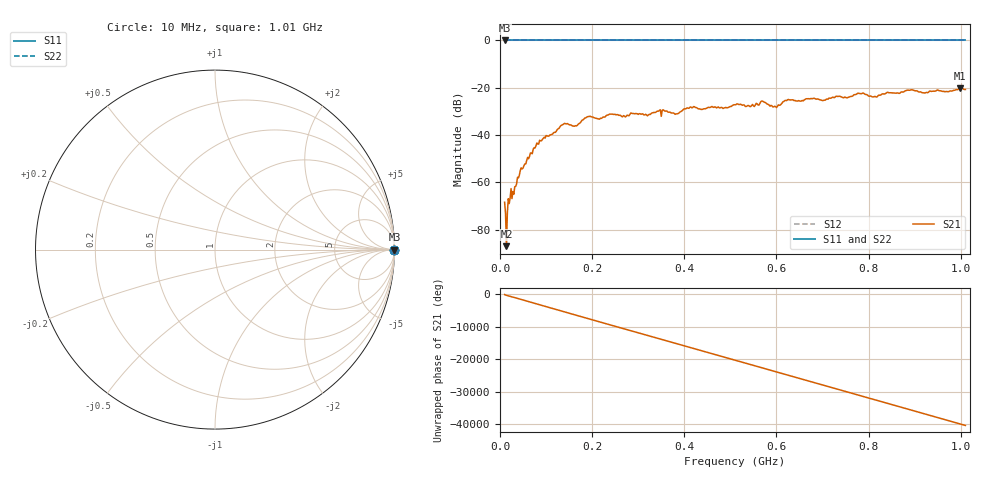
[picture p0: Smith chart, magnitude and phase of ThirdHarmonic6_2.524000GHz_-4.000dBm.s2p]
! 8/17/2025 4:59:16 AM
! C:\ANRITSUVNA\TEMP\TEMP.S2P
! CHANNEL.1
! TR.MEASUREMENT
! RAW.DATA
! RF.CORRECTION.OFF
! AVERAGING.OFF
! IF.BANDWIDTH: 5KHZ
! SWEEPTYPE:  FREQ.SWEEP(Linear)
! Reference Plane Port Info
! PORT:  PORT1  PORT2
! DISTANCE:  0  m  0  m
! TIME:  0  s  0  s
! PHASE.OFFSET:  0  deg.  0  deg.
! LOSS:  0  dB  0  dB
! REF.LOSS:  0  dB  0  dB
! REF.FREQ:  0  Hz  0  Hz
! Power Info
! POWER:  -20  dBm  -20  dBm
! EFF.POWER:  -20  dBm  -20  dBm
! SOURCE.ATTEN:  0  dB  0  dB
! TEST.ATTEN:  0  dB  0  dB
# GHZ S RI R 50.0
! FREQ.GHZ  S11RE  S11IM  S21RE  S21IM  S12RE  S12IM  S22RE  S22IM
!; PortSelection: Port_12
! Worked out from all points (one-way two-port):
!   501 points, 10 MHz to 1.01 GHz, reference 50 ohm
!   highest |S21| = -20.18 dB at 998 MHz (marker M1); lowest = -87.0 dB at 14 MHz (marker M2)
!   lowest |S11| = 0.0 dB at 10 MHz (marker M3)
!   |S11| at or under -10 dB: nowhere
!   |S22| runs from 0.0 to 0.0 dB; largest |S21 - S12| = 1.1
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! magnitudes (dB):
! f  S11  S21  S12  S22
! 10 MHz  0.0  -68.4  0.0  0.0
! 14 MHz  0.0  -87.0  0.0  0.0
! 42 MHz  0.0  -57.0  0.0  0.0
! 76 MHz  0.0  -45.4  0.0  0.0
! 136 MHz  0.0  -35.6  0.0  0.0
! 164 MHz  0.0  -36.0  0.0  0.0
! 178 MHz  0.0  -33.8  0.0  0.0
! 192 MHz  0.0  -32.2  0.0  0.0
! 322 MHz  0.0  -31.5  0.0  0.0
! 344 MHz  0.0  -29.9  0.0  0.0
! 384 MHz  0.0  -31.1  0.0  0.0
! 416 MHz  0.0  -28.4  0.0  0.0
! 510 MHz  0.0  -27.2  0.0  0.0
! 570 MHz  0.0  -25.7  0.0  0.0
! 596 MHz  0.0  -27.8  0.0  0.0
! 622 MHz  0.0  -25.4  0.0  0.0
! 678 MHz  0.0  -24.6  0.0  0.0
! 784 MHz  0.0  -22.5  0.0  0.0
! 814 MHz  0.0  -23.6  0.0  0.0
! 844 MHz  0.0  -22.1  0.0  0.0
! 998 MHz  0.0  -20.2  0.0  0.0
! 1.01 GHz  0.0  -20.7  0.0  0.0
